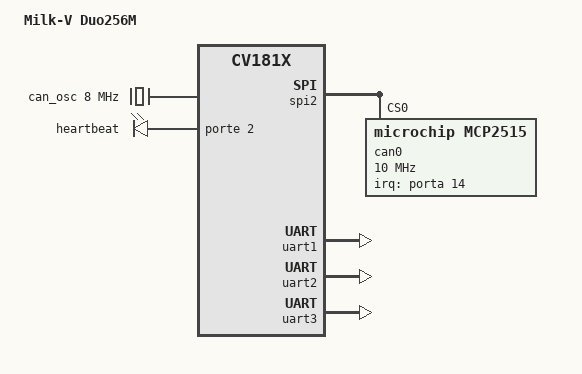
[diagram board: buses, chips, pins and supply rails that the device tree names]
/dts-v1/;
#include "cv181x_base_arm.dtsi"
#include "cv181x_asic_qfn.dtsi"
#include "cv181x_asic_sd.dtsi"
#include "cv181x_default_memmap.dtsi"
#include <dt-bindings/interrupt-controller/irq.h>   /* IRQ_TYPE_LEVEL_LOW (also pulled in transitively) */

/ {
	model = "Milk-V Duo256M";

	sd:cv-sd@4310000 {
		max-frequency = <10000000>;
	};

	/* 8 MHz crystal on the external MCP2515 CAN module */
	can_osc: can-clk {
		compatible = "fixed-clock";
		#clock-cells = <0>;
		clock-frequency = <8000000>;
	};

	/* Heartbeat LED on GP pin -> sysfs gpio354 = porte line 2 (base 352 chip
	 * 5021000.gpio, offset 2). Driven by leds-gpio + ledtrig-heartbeat, both
	 * built as MODULES: at boot the LED double-blinks (heartbeat); to reclaim the
	 * raw pin at /sys/class/gpio/gpio354, `rmmod ledtrig_heartbeat leds_gpio`.
	 * Flip to GPIO_ACTIVE_LOW if the LED logic is inverted. NOTE: porte line 2's
	 * pad must be muxed to GPIO in U-Boot (as gpio354 already is). */
	leds {
		compatible = "gpio-leds";
		led-heartbeat {
			label = "heartbeat";
			gpios = <&porte 2 GPIO_ACTIVE_HIGH>;
			linux,default-trigger = "heartbeat";
			default-state = "off";
		};
	};
};

&mipi_rx {
	snsr-reset = <&portc 17 GPIO_ACTIVE_LOW>, <&portc 17 GPIO_ACTIVE_LOW>, <&portc 17 GPIO_ACTIVE_LOW>;
};

&i2c0 {
	status = "disabled";
};

&i2c4 {
	status = "disabled";
};

/* MCP2515 external CAN controller on SPI2, native CS0.
 * Pins already muxed by U-Boot cvi_board_init.c (no DTS pinctrl on cv181x):
 *   SCK  = GP6  / SD1_CLK  / header pin 9
 *   MOSI = GP7  / SD1_CMD  / header pin 10
 *   MISO = GP8  / SD1_D0   / header pin 11
 *   CS0  = GP9  / SD1_D3   / header pin 12
 *   INT  = GP14 / XGPIOA[14] / header pin 19 (active-low, level)
 * WIRING: pins 9-12/19 are 3.3V, NOT 5V-tolerant. Do NOT hang a 5V-powered
 * MCP2515+TJA1050 module directly on them -- use a 3.3V-native module
 * (SN65HVD230) or level-shift + split-rail. See docs.
 */
&spi2 {
	status = "okay";
	num-cs = <1>;

	/* drop the generic spidev on CS0 (from cv181x_asic_qfn.dtsi); CAN takes it */
	/delete-node/ spidev@0;

	can0: can@0 {
		compatible = "microchip,mcp2515";
		reg = <0>;                             /* native SPI2 CS0 */
		spi-max-frequency = <10000000>;        /* MCP2515 SPI ceiling */
		clocks = <&can_osc>;                   /* 8 MHz */
		interrupt-parent = <&porta>;           /* XGPIOA irq controller */
		interrupts = <14 IRQ_TYPE_LEVEL_LOW>;  /* XGPIOA[14] / GP14 / pin 19 */
	};
};

&dac {
	mute-gpio-r = <&porte 1 GPIO_ACTIVE_LOW>;
};

&uart1 {
	status = "okay";
};

&uart2 {
	status = "okay";
};

&uart3 {
	status = "okay";
};
